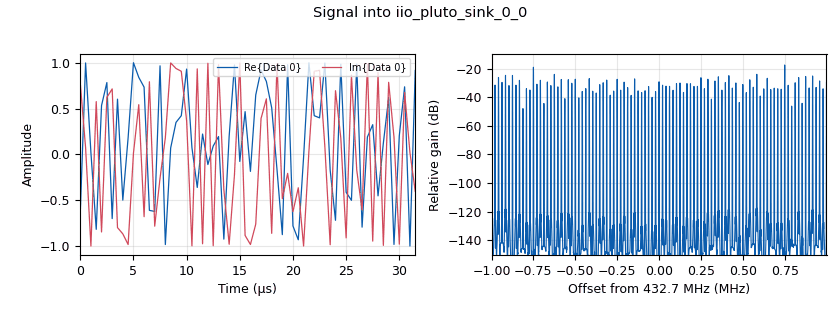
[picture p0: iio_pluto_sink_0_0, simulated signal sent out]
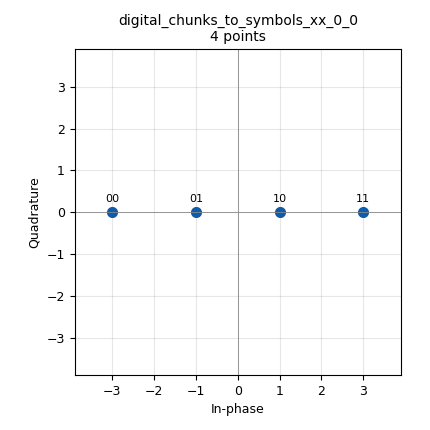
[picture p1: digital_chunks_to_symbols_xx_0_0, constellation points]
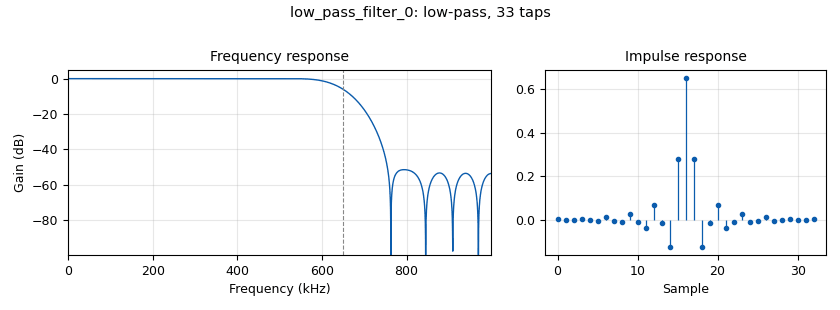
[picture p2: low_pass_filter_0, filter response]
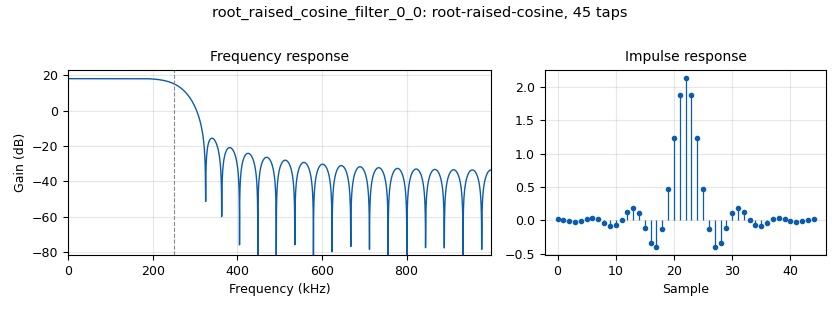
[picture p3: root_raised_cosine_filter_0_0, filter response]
options:
  parameters:
    author: '13386'
    generate_options: qt_gui
    id: red_level1
    output_language: python
    title: red level 1 tx
  states: {}

blocks:
- name: bc_alpha
  id: variable
  parameters:
    value: '0.25'
  states: {}
- name: bc_cf
  id: variable
  parameters:
    value: 433.2e6
  states: {}
- name: bc_freq_dev
  id: variable
  parameters:
    value: 62.5e3
  states: {}
- name: bc_ntaps
  id: variable
  parameters:
    value: 11 * bc_sps
  states: {}
- name: bc_shift
  id: variable
  parameters:
    value: bc_cf - tx_lo
  states: {}
- name: bc_sps
  id: variable
  parameters:
    value: int(samp_rate / bc_sym_rate)
  states: {}
- name: bc_sym_rate
  id: variable
  parameters:
    value: 250e3
  states: {}
- name: j1_alpha
  id: variable
  parameters:
    value: '0.25'
  states: {}
- name: j1_cf
  id: variable
  parameters:
    value: 432.2e6
  states: {}
- name: j1_freq_dev
  id: variable
  parameters:
    value: 125e3
  states: {}
- name: j1_ntaps
  id: variable
  parameters:
    value: 11 * j1_sps
  states: {}
- name: j1_shift
  id: variable
  parameters:
    value: j1_cf - tx_lo
  states: {}
- name: j1_sps
  id: variable
  parameters:
    value: int(samp_rate / j1_sym_rate)
  states: {}
- name: j1_sym_rate
  id: variable
  parameters:
    value: 500e3
  states: {}
- name: norm_k
  id: variable
  parameters:
    value: 1.0/j1_freq_dev
  states: {}
- name: quad_gain
  id: variable
  parameters:
    value: samp_rate/(2*3.1415926)
  states: {}
- name: rx_lo
  id: variable
  parameters:
    value: 432.7e6
  states: {}
- name: samp_rate
  id: variable
  parameters:
    value: 2e6
  states: {}
- name: sens
  id: variable
  parameters:
    value: 2*3.1415926/samp_rate
  states: {}
- name: tx_lo
  id: variable
  parameters:
    value: 432.7e6
  states: {}
- name: analog_frequency_modulator_fc_0
  id: analog_frequency_modulator_fc
  parameters:
    sensitivity: sens
  states: {state: disabled}
- name: analog_frequency_modulator_fc_0_0
  id: analog_frequency_modulator_fc
  parameters:
    sensitivity: sens
  states: {}
- name: analog_quadrature_demod_cf_0
  id: analog_quadrature_demod_cf
  parameters:
    gain: quad_gain
  states: {}
- name: blocks_add_xx_0
  id: blocks_add_xx
  parameters:
    type: complex
  states: {state: disabled}
- name: blocks_keep_one_in_n_0
  id: blocks_keep_one_in_n
  parameters:
    n: '4'
    type: float
  states: {}
- name: blocks_multiply_const_vxx_0
  id: blocks_multiply_const_vxx
  parameters:
    const: bc_freq_dev
    type: float
  states: {state: disabled}
- name: blocks_multiply_const_vxx_0_0
  id: blocks_multiply_const_vxx
  parameters:
    const: j1_freq_dev
    type: float
  states: {}
- name: blocks_multiply_const_vxx_1
  id: blocks_multiply_const_vxx
  parameters:
    const: norm_k
    type: float
  states: {}
- name: blocks_repack_bits_bb_0
  id: blocks_repack_bits_bb
  parameters:
    endianness: gr.GR_MSB_FIRST
    k: '8'
    l: '2'
  states: {state: disabled}
- name: blocks_repack_bits_bb_0_0
  id: blocks_repack_bits_bb
  parameters:
    endianness: gr.GR_MSB_FIRST
    k: '8'
    l: '2'
  states: {}
- name: blocks_rotator_cc_0
  id: blocks_rotator_cc
  parameters:
    phase_inc: 2*3.1415926*bc_shift/samp_rate
  states: {state: disabled}
- name: blocks_rotator_cc_0_0
  id: blocks_rotator_cc
  parameters:
    phase_inc: 2*3.1415926*j1_shift/samp_rate
  states: {}
- name: blocks_rotator_cc_1
  id: blocks_rotator_cc
  parameters:
    phase_inc: '-2*3.1415926*j1_shift/samp_rate'
  states: {}
- name: blocks_vector_source_x_0
  id: blocks_vector_source_x
  parameters:
    repeat: 'True'
    type: byte
    vector: '[0xA5,0x5A,0x3C,0xC3,0x96,0x69,0x12,0x34]'
  states: {state: disabled}
- name: blocks_vector_source_x_0_0
  id: blocks_vector_source_x
  parameters:
    repeat: 'True'
    type: byte
    vector: '[0x41,0x42,0x31,0x32,0x43,0x39]'
  states: {}
- name: digital_chunks_to_symbols_xx_0
  id: digital_chunks_to_symbols_xx
  parameters:
    dimension: '1'
    in_type: byte
    out_type: float
    symbol_table: '[-3, -1, 1, 3]'
  states: {state: disabled}
- name: digital_chunks_to_symbols_xx_0_0
  id: digital_chunks_to_symbols_xx
  parameters:
    dimension: '1'
    in_type: byte
    out_type: float
    symbol_table: '[-3, -1, 1, 3]'
  states: {}
- name: digital_symbol_sync_xx_0
  id: digital_symbol_sync_xx
  parameters:
    damping: '1.0'
    loop_bw: '0.06'
    max_dev: '1.5'
    osps: '1'
    resamp_type: digital.IR_MMSE_8TAP
    sps: j1_sps
    ted_gain: '1.0'
    ted_type: digital.TED_ZERO_CROSSING
    type: ff
  states: {state: disabled}
- name: iio_pluto_sink_0
  id: iio_pluto_sink
  parameters:
    attenuation1: '30'
    bandwidth: '20000000'
    buffer_size: '32768'
    cyclic: 'True'
    filter_source: '''Auto'''
    frequency: int(tx_lo)
    samplerate: int(samp_rate)
    type: fc32
  states: {state: disabled}
- name: iio_pluto_sink_0_0
  id: iio_pluto_sink
  parameters:
    attenuation1: '30'
    bandwidth: '20000000'
    buffer_size: '32768'
    cyclic: 'True'
    filter_source: '''Auto'''
    frequency: int(tx_lo)
    samplerate: int(samp_rate)
    type: fc32
  states: {}
- name: iio_pluto_source_0
  id: iio_pluto_source
  parameters:
    bandwidth: '2000000'
    bbdc: 'True'
    buffer_size: '32768'
    filter_source: '''Auto'''
    frequency: int(rx_lo)
    gain1: '''slow_attack'''
    quadrature: 'True'
    rfdc: 'False'
    samplerate: int(samp_rate)
    type: fc32
    uri: 192.168.2.1
  states: {}
- name: low_pass_filter_0
  id: low_pass_filter
  parameters:
    cutoff_freq: 650e3
    gain: '1'
    interp: '1'
    samp_rate: samp_rate
    type: interp_fir_filter_ccf
    width: 150e3
    win: window.WIN_HAMMING
  states: {}
- name: qtgui_freq_sink_x_0
  id: qtgui_freq_sink_x
  parameters:
    bw: samp_rate
    fc: '0'
    fftsize: '1024'
    name: '"after_lpf_j1"'
    type: complex
  states: {}
- name: qtgui_freq_sink_x_1
  id: qtgui_freq_sink_x
  parameters:
    bw: samp_rate
    fc: '0'
    fftsize: '1024'
    name: '"output"'
    type: complex
  states: {state: disabled}
- name: qtgui_freq_sink_x_1_0
  id: qtgui_freq_sink_x
  parameters:
    bw: samp_rate
    fc: '0'
    fftsize: '1024'
    name: '"output bc"'
    type: complex
  states: {state: disabled}
- name: qtgui_freq_sink_x_1_0_0
  id: qtgui_freq_sink_x
  parameters:
    bw: samp_rate
    fc: '0'
    fftsize: '1024'
    name: '"output j1"'
    type: complex
  states: {state: disabled}
- name: qtgui_freq_sink_x_2
  id: qtgui_freq_sink_x
  parameters:
    bw: samp_rate
    fc: '0'
    fftsize: '1024'
    name: '"raw_rx"'
    type: complex
  states: {state: disabled}
- name: qtgui_freq_sink_x_3
  id: qtgui_freq_sink_x
  parameters:
    bw: samp_rate
    fc: '0'
    fftsize: '1024'
    name: '"after_rot_j1"'
    type: complex
  states: {state: disabled}
- name: qtgui_histogram_sink_x_0
  id: qtgui_histogram_sink_x
  parameters:
    bins: '100'
    size: '1024'
    type: float
    xmax: '1'
    xmin: '-1'
  states: {}
- name: qtgui_time_sink_x_0
  id: qtgui_time_sink_x
  parameters:
    name: '"output"'
    size: '1024'
    srate: samp_rate
    type: complex
  states: {state: disabled}
- name: qtgui_time_sink_x_0_0
  id: qtgui_time_sink_x
  parameters:
    name: '"output bc"'
    size: '1024'
    srate: samp_rate
    type: complex
  states: {state: disabled}
- name: qtgui_time_sink_x_0_0_0
  id: qtgui_time_sink_x
  parameters:
    name: '"output j1"'
    size: '1024'
    srate: samp_rate
    type: complex
  states: {state: disabled}
- name: qtgui_time_sink_x_1
  id: qtgui_time_sink_x
  parameters:
    autoscale: 'True'
    name: '"after qd and mc j1"'
    size: '1024'
    srate: samp_rate
    type: float
  states: {}
- name: qtgui_time_sink_x_1_0
  id: qtgui_time_sink_x
  parameters:
    autoscale: 'True'
    name: '"after rrcf and ss j1"'
    size: '1024'
    srate: samp_rate
    type: float
  states: {state: disabled}
- name: root_raised_cosine_filter_0
  id: root_raised_cosine_filter
  parameters:
    alpha: bc_alpha
    gain: '8'
    interp: bc_sps
    ntaps: bc_ntaps
    samp_rate: samp_rate
    sym_rate: bc_sym_rate
    type: interp_fir_filter_fff
  states: {state: disabled}
- name: root_raised_cosine_filter_0_0
  id: root_raised_cosine_filter
  parameters:
    alpha: j1_alpha
    gain: '8'
    interp: j1_sps
    ntaps: j1_ntaps
    samp_rate: samp_rate
    sym_rate: j1_sym_rate
    type: interp_fir_filter_fff
  states: {}
- name: root_raised_cosine_filter_1
  id: root_raised_cosine_filter
  parameters:
    alpha: j1_alpha
    gain: '1'
    interp: '1'
    ntaps: j1_ntaps
    samp_rate: samp_rate
    sym_rate: j1_sym_rate
    type: interp_fir_filter_fff
  states: {state: disabled}

connections:
- [analog_frequency_modulator_fc_0, '0', blocks_rotator_cc_0, '0']
- [analog_frequency_modulator_fc_0_0, '0', blocks_rotator_cc_0_0, '0']
- [analog_quadrature_demod_cf_0, '0', blocks_multiply_const_vxx_1, '0']
- [blocks_add_xx_0, '0', iio_pluto_sink_0, '0']
- [blocks_add_xx_0, '0', qtgui_freq_sink_x_1, '0']
- [blocks_add_xx_0, '0', qtgui_time_sink_x_0, '0']
- [blocks_keep_one_in_n_0, '0', qtgui_histogram_sink_x_0, '0']
- [blocks_keep_one_in_n_0, '0', qtgui_time_sink_x_1, '0']
- [blocks_multiply_const_vxx_0, '0', analog_frequency_modulator_fc_0, '0']
- [blocks_multiply_const_vxx_0_0, '0', analog_frequency_modulator_fc_0_0, '0']
- [blocks_multiply_const_vxx_1, '0', blocks_keep_one_in_n_0, '0']
- [blocks_multiply_const_vxx_1, '0', root_raised_cosine_filter_1, '0']
- [blocks_repack_bits_bb_0, '0', digital_chunks_to_symbols_xx_0, '0']
- [blocks_repack_bits_bb_0_0, '0', digital_chunks_to_symbols_xx_0_0, '0']
- [blocks_rotator_cc_0, '0', blocks_add_xx_0, '0']
- [blocks_rotator_cc_0, '0', qtgui_freq_sink_x_1_0, '0']
- [blocks_rotator_cc_0, '0', qtgui_time_sink_x_0_0, '0']
- [blocks_rotator_cc_0_0, '0', blocks_add_xx_0, '1']
- [blocks_rotator_cc_0_0, '0', iio_pluto_sink_0_0, '0']
- [blocks_rotator_cc_0_0, '0', qtgui_freq_sink_x_1_0_0, '0']
- [blocks_rotator_cc_0_0, '0', qtgui_time_sink_x_0_0_0, '0']
- [blocks_rotator_cc_1, '0', low_pass_filter_0, '0']
- [blocks_rotator_cc_1, '0', qtgui_freq_sink_x_3, '0']
- [blocks_vector_source_x_0, '0', blocks_repack_bits_bb_0, '0']
- [blocks_vector_source_x_0_0, '0', blocks_repack_bits_bb_0_0, '0']
- [digital_chunks_to_symbols_xx_0, '0', root_raised_cosine_filter_0, '0']
- [digital_chunks_to_symbols_xx_0_0, '0', root_raised_cosine_filter_0_0, '0']
- [digital_symbol_sync_xx_0, '0', qtgui_time_sink_x_1_0, '0']
- [iio_pluto_source_0, '0', blocks_rotator_cc_1, '0']
- [iio_pluto_source_0, '0', qtgui_freq_sink_x_2, '0']
- [low_pass_filter_0, '0', analog_quadrature_demod_cf_0, '0']
- [low_pass_filter_0, '0', qtgui_freq_sink_x_0, '0']
- [root_raised_cosine_filter_0, '0', blocks_multiply_const_vxx_0, '0']
- [root_raised_cosine_filter_0_0, '0', blocks_multiply_const_vxx_0_0, '0']
- [root_raised_cosine_filter_1, '0', digital_symbol_sync_xx_0, '0']

metadata:
  file_format: 1
  grc_version: 3.10.12.0
